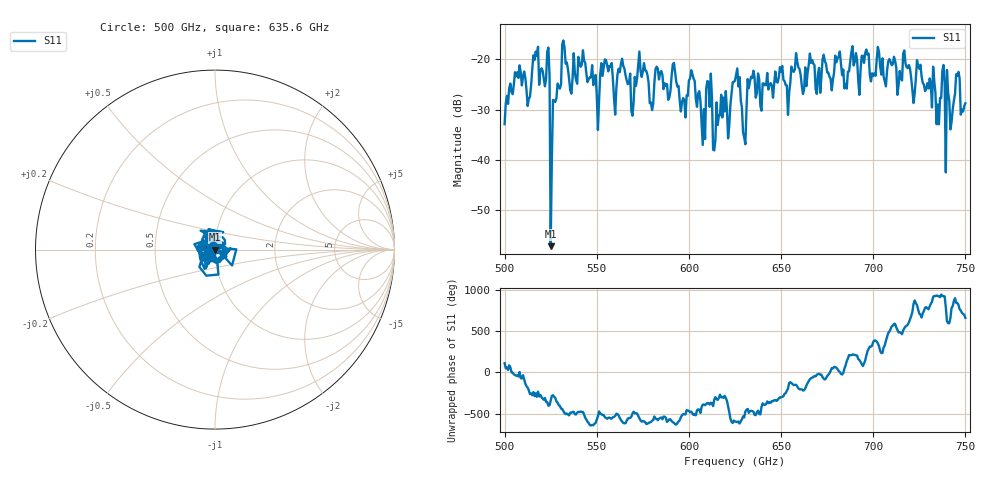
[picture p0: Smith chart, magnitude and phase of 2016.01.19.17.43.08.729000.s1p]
!Created with skrf (http://scikit-rf.org).
# GHz S RI R 50.0
!freq ReS11 ImS11
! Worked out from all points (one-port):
!   401 points, 500 GHz to 750 GHz, reference 50 ohm
!   lowest |S11| = -57.1 dB at 525 GHz (marker M1), VSWR 1.00, Z = 50.1 + j0.0475 ohm
!   |S11| at or under -10 dB: start of sweep to end of sweep
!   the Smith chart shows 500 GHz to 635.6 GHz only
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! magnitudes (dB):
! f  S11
! 500 GHz  -32.9
! 506.9 GHz  -22.6
! 513.1 GHz  -27.8
! 516.9 GHz  -18.5
! 523.1 GHz  -18.5
! 525 GHz  -57.1
! 526.2 GHz  -28.1
! 527.5 GHz  -28.5
! 531.2 GHz  -17.1
! 550 GHz  -27.1
! 562.5 GHz  -22.6
! 570 GHz  -28.5
! 574.4 GHz  -23.5
! 579.4 GHz  -28.6
! 583.1 GHz  -21.9
! 593.8 GHz  -25.5
! 596.9 GHz  -27.7
! 601.9 GHz  -22.9
! 607.5 GHz  -37.0
! 610.6 GHz  -24.5
! 614.4 GHz  -36.0
! 625 GHz  -24.3
! 630 GHz  -35.6
! 634.4 GHz  -23.7
! 656.2 GHz  -22.3
! 687.5 GHz  -20.5
! 718.8 GHz  -21.8
! 750 GHz  -28.8
